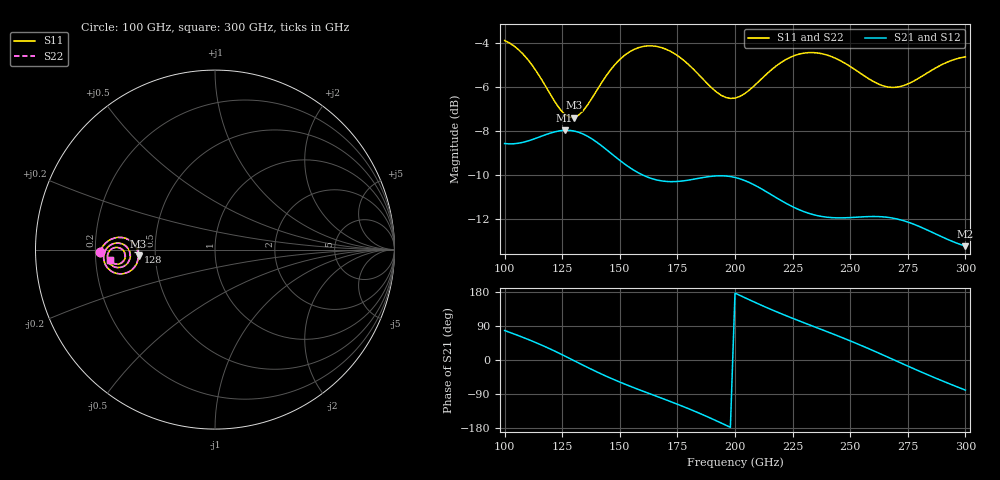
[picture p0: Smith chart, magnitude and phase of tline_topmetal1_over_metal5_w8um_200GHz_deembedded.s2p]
! Created with skrf 2.2.0 (http://scikit-rf.org).
# GHz S DB R 50.0
! Port[1] = P1
! Port[2] = P2
!freq dBS11 angS11 dBS21 angS21 dBS12 angS12 dBS22 angS22
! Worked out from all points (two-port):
!   101 points, 100 GHz to 300 GHz, reference 50 ohm
!   highest |S21| = -7.96 dB at 126 GHz (marker M1); lowest = -13.2 dB at 300 GHz (marker M2)
!   |S21| within 3 dB of the highest: start of sweep to 217 GHz
!   lowest |S11| = -7.4 dB at 130 GHz (marker M3), VSWR 2.49, Z = 20.1 - j1.74 ohm
!   |S11| at or under -10 dB: nowhere
!   |S22| runs from -7.3 to -3.9 dB; largest |S21 - S12| = 3.6e-13
!   S11 on the Smith chart (normalised r, x): 100 GHz: 0.22, -0.01; 128 GHz: 0.40, -0.01; 300 GHz: 0.26, -0.05
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100  -3.88 -179.0  -8.56 77.8  -8.56 77.8  -3.87 -178.9
114  -5.31 172.7  -8.31 44.8  -8.31 44.8  -5.30 172.9
126  -7.23 179.0  -7.96 10.9  -7.96 10.9  -7.19 179.1
128  -7.36 -178.2  -7.96 4.8  -7.96 4.8  -7.33 -178.1
130  -7.38 -175.2  -7.99 -1.3  -7.99 -1.3  -7.35 -175.2
134  -7.08 -169.9  -8.12 -13.5  -8.12 -13.5  -7.05 -169.9
142  -5.82 -165.2  -8.66 -36.9  -8.66 -36.9  -5.80 -165.3
148  -4.96 -166.4  -9.16 -53.1  -9.16 -53.1  -4.95 -166.5
158  -4.21 -172.0  -9.89 -77.5  -9.89 -77.5  -4.20 -172.0
168  -4.20 -178.3  -10.26 -100.4  -10.26 -100.4  -4.19 -178.2
184  -5.40 176.1  -10.14 -139.1  -10.14 -139.1  -5.39 176.2
192  -6.23 178.6  -10.03 -160.7  -10.03 -160.7  -6.20 178.7
200  -6.50 -175.3  -10.10 176.6  -10.10 176.6  -6.47 -175.2
208  -5.97 -170.3  -10.42 154.0  -10.42 154.0  -5.94 -170.2
216  -5.20 -169.5  -10.90 132.5  -10.90 132.5  -5.17 -169.5
224  -4.64 -171.8  -11.38 112.5  -11.38 112.5  -4.62 -171.8
234  -4.43 -176.1  -11.79 88.8  -11.79 88.8  -4.41 -176.1
250  -5.06 178.8  -11.92 50.5  -11.92 50.5  -5.03 178.9
260  -5.74 179.9  -11.87 24.7  -11.87 24.7  -5.71 179.9
268  -6.01 -176.6  -11.94 3.0  -11.94 3.0  -5.97 -176.6
284  -5.32 -171.4  -12.51 -39.9  -12.51 -39.9  -5.29 -171.5
300  -4.63 -174.5  -13.22 -79.5  -13.22 -79.5  -4.61 -174.6
